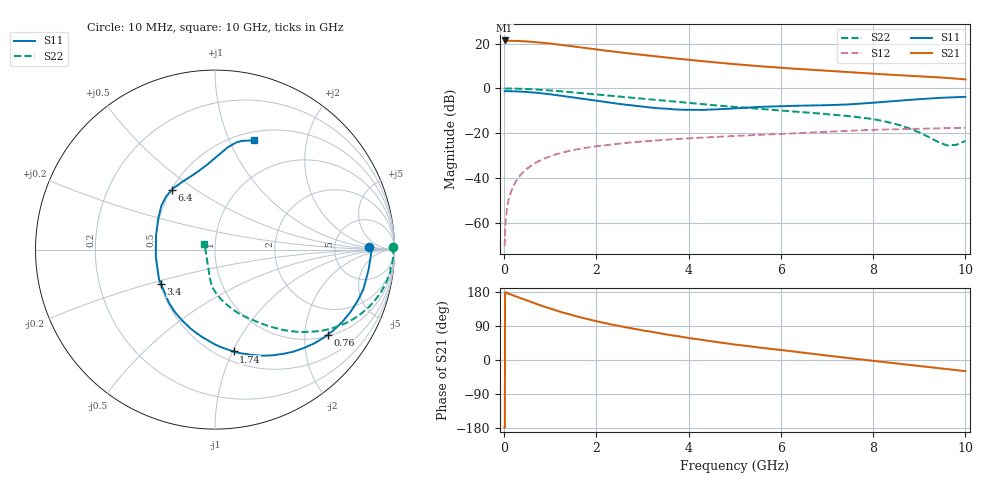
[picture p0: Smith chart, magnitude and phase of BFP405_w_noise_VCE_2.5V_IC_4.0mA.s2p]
! Infineon Technologies  Discrete & RF Semiconductors
! BFP405
! VCE =  2.5 V,  IC =  4.0 mA
! Common Emitter S-Parameters:  Jan 2016
# GHz  S  MA  R  50
!  f  S11  S21  S12  S22
! GHz  MAG  ANG  MAG  ANG  MAG  ANG  MAG  ANG
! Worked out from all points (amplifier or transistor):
!   233 points, 10 MHz to 10 GHz, reference 50 ohm
!   highest |S21| = 21.4 dB at 10 MHz (marker M1)
!   |S21| within 3 dB of that: start of sweep to 1.631 GHz
!   unconditionally stable (mu >= 1): start of sweep to 13.51 MHz; 3.653 GHz to end of sweep
!   at 200 MHz: K = 0.07, MSG = 32.4 dB, |S12| = -43.6 dB
!   at 1.74 GHz: K = 0.48, MSG = 22.4 dB, |S12| = -26.7 dB
!   at 10 GHz: K = 1.50, MAG = 6.6 dB, |S12| = -17.6 dB
!   lowest NFmin = 1.10 dB at 900 MHz
!   S11 on the Smith chart (normalised r, x): 10 MHz: 13, +1; 760 MHz: 1.05, -2.61; 1.74 GHz: 0.59, -1.01; 3.4 GHz: 0.50, -0.22; 6.4 GHz: 0.50, +0.40; 10 GHz: 0.59, +1.24
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0.01  0.8606 0.9  11.73 -177.6  0.0003 -10.0  0.991 0.9
0.02  0.8712 -0.9  11.62 178.4  0.0007 90.6  0.9906 -0.1
0.085  0.866 -4.1  11.56 175.6  0.0029 90.8  0.9934 -1.9
0.19  0.8598 -9.5  11.5 170.9  0.0063 85.1  0.9897 -4.6
0.26  0.8556 -12.9  11.5 167.6  0.0085 83.9  0.983 -6.3
0.5  0.831 -24.7  11.15 156.7  0.0162 78.2  0.9664 -11.9
0.76  0.7867 -37.1  10.59 145.3  0.024 71.9  0.934 -17.7
1.1  0.7167 -52.6  9.746 131.5  0.033 64.9  0.8812 -24.6
1.4  0.6493 -65.6  8.918 120.7  0.0399 59.4  0.8301 -29.9
1.68  0.5895 -77.2  8.178 111.6  0.0454 55.0  0.7824 -34.2
1.74  0.5769 -79.6  8.02 109.8  0.0465 54.1  0.7726 -35.1
2  0.5273 -90.2  7.399 102.3  0.0509 50.7  0.7308 -38.5
2.42  0.4597 -107.4  6.53 91.4  0.0573 45.9  0.6686 -43.4
2.96  0.3956 -129.2  5.628 79.1  0.0647 40.7  0.5955 -49.1
3.4  0.3567 -147.5  5.029 70.0  0.07 36.7  0.5399 -53.3
4  0.3318 -173.5  4.346 58.0  0.0767 32.0  0.4722 -59.2
5.1  0.3635 149.5  3.397 39.4  0.0875 24.4  0.3782 -69.7
6.4  0.4105 125.9  2.706 20.5  0.1006 16.7  0.299 -80.1
6.8  0.4164 118.1  2.541 14.8  0.1051 14.1  0.2764 -83.4
8.4  0.5163 89.2  2.009 -7.6  0.1216 2.0  0.1687 -99.1
9.6  0.6235 76.2  1.709 -24.0  0.1297 -6.8  0.0533 -159.1
10  0.6464 70.4  1.588 -29.5  0.1318 -9.3  0.0673 151.0
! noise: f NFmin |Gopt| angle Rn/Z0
0.9  1.1  0.42  13  0.34
1.8  1.39  0.33  21  0.32
2.4  1.55  0.28  31  0.32
3  1.58  0.26  47  0.29
4  1.76  0.14  70  0.25
5  2.11  0.09  124  0.22
